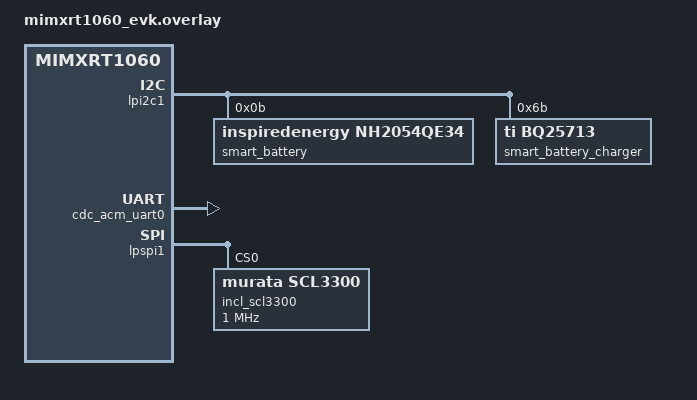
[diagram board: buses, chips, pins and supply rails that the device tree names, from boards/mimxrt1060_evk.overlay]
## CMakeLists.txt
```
# SPDX-License-Identifier: Apache-2.0
#set(overlay_file ${CMAKE_CURRENT_SOURCE_DIR}/../../boards/${BOARD}.overlay)
#if(EXISTS ${overlay_file})
#    list(APPEND DTC_OVERLAY_FILE "${overlay_file}")
#endif()

cmake_minimum_required(VERSION 3.20.0)
find_package(Zephyr REQUIRED HINTS $ENV{ZEPHYR_BASE})
project(io-controller)

set(CMAKE_EXPORT_COMPILE_COMMANDS ON)

add_subdirectory(src)

target_include_directories(app
    PRIVATE ${CMAKE_SOURCE_DIR}/src/utils
            ${CMAKE_SOURCE_DIR}/src/usb
            ${CMAKE_SOURCE_DIR}/src/managers
            ${CMAKE_SOURCE_DIR}/src/display
            ${CMAKE_SOURCE_DIR}/src/sensors
            ${CMAKE_SOURCE_DIR}/src/message_handlers
            ${CMAKE_SOURCE_DIR}/src/third_party
            ${CMAKE_SOURCE_DIR}/src/smp_commands
)

target_sources(app PRIVATE src/main.cpp
                           src/display/display_mock.cpp
                           src/usb/usb_hid_zephyr.cpp
                           src/sensors/battery_mock.cpp
                           src/sensors/battery_charger_mock.cpp
                           src/sensors/imu_mock.cpp
                           src/managers/state_manager_sml.cpp
                           src/managers/battery_manager.cpp
                           src/managers/imu_manager.cpp
                           src/sensors/inclinometer_mock.cpp
                           src/sensors/leg_control_impl.cpp
                           src/managers/message_manager.cpp
                           src/managers/display_manager.cpp
                           src/managers/inclinometer_manager.cpp
                           src/managers/leg_manager.cpp
                           src/message_handlers/system_message_handler_impl.cpp
                           src/message_handlers/battery_message_handler_impl.cpp
                           src/message_handlers/display_message_handler_impl.cpp
                           src/message_handlers/inclinometer_message_handler_impl.cpp
                           src/utils/util.cpp
                           src/smp_commands/system_mgmt.cpp
                           src/smp_commands/display_mgmt.cpp
                           src/managers/message_manager_new.cpp
)

target_sources_ifdef(CONFIG_BATTERY_CHARGER_BQ25713 app PRIVATE src/sensors/battery_charger_bq25713.cpp)
target_sources_ifdef(CONFIG_BATTERY_NH2054QE34 app PRIVATE src/sensors/battery_nh2054qe34.cpp)
target_sources_ifdef(CONFIG_DISPLAY app PRIVATE src/display/display_com35h3.cpp)
target_sources_ifdef(CONFIG_FXOS8700 app PRIVATE src/sensors/imu_fxos8700.cpp)
target_sources_ifdef(CONFIG_INCL_SCL3300 app PRIVATE src/sensors/inclinometer_scl3300.cpp)


target_compile_options(app PRIVATE -Wall -Wextra -Wno-unused-parameter -Wno-unused-function -Wno-ignored-qualifiers) # -Werror -Wpedantic
```

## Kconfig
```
rsource "Kconfig.logging"
source "Kconfig.zephyr"
```

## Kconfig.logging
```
# Config options for logger sample app

# Copyright (c) 2018 Nordic Semiconductor ASA
# SPDX-License-Identifier: Apache-2.0

mainmenu "IO Controller"

menu "Logging configuration"
menu "Managers"

module = INCLINOMETER_MANAGER
module-str = Inclinometer Manager
source "subsys/logging/Kconfig.template.log_config"

module = MESSAGE_MANAGER
module-str = Message Manager
source "subsys/logging/Kconfig.template.log_config"

module = BATTERY_MANAGER
module-str = Battery Manager
source "subsys/logging/Kconfig.template.log_config"

module = DISPLAY_MANAGER
module-str = Display Manager
source "subsys/logging/Kconfig.template.log_config"

module = LEG_MANAGER
module-str = Leg Manager
source "subsys/logging/Kconfig.template.log_config"

module = IMU_MANAGER
module-str = Imu Manager
source "subsys/logging/Kconfig.template.log_config"

module = SML_MANAGER
module-str = Sml manager
source "subsys/logging/Kconfig.template.log_config"

endmenu
menu "Message Handlers"

module = SYSTEM_MGMT
module-str = System Message Handler
source "subsys/logging/Kconfig.template.log_config"

module = DISPLAY_MGMT
module-str = Display Message Handler
source "subsys/logging/Kconfig.template.log_config"

module = SYSTEM_MSG_HDLR
module-str = System Message Handler
source "subsys/logging/Kconfig.template.log_config"

module = BATTERY_MSG_HDLR
module-str = Battery Message Handler
source "subsys/logging/Kconfig.template.log_config"

module = DISPLAY_MSG_HDLR
module-str = Display Message Handler
source "subsys/logging/Kconfig.template.log_config"

module = INCLINOMETER_MSG_HDLR
module-str = Inclinometer Message Handler
source "subsys/logging/Kconfig.template.log_config"

endmenu
menu "Sensors"

module = IMU
module-str = Imu
source "subsys/logging/Kconfig.template.log_config"

module = BATTERY
module-str = Battery
source "subsys/logging/Kconfig.template.log_config"

module = BATTERY_CHARGER
module-str = Battery Charger
source "subsys/logging/Kconfig.template.log_config"

module = INCLINOMETER
module-str = Inclinometer
source "subsys/logging/Kconfig.template.log_config"

endmenu
menu "Others"

module = DISPLAY
module-str = Display
source "subsys/logging/Kconfig.template.log_config"

endmenu
endmenu
```

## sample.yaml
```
sample:
  description: Hello World sample, the simplest Zephyr
    application
  name: hello world
common:
    modules:
      - nanopb
    tags: introduction
    integration_platforms:
      - native_posix
    harness: console
    harness_config:
      type: one_line
      regex:
        - "Hello World! (.*)"
tests:
  sample.basic.helloworld:
    tags: introduction
```

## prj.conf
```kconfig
# General
CONFIG_MAIN_STACK_SIZE=4096
CONFIG_SYSTEM_WORKQUEUE_STACK_SIZE=2304

# C++ stuff
CONFIG_NEWLIB_LIBC=y
CONFIG_CPP=y
CONFIG_STD_CPP14=y
CONFIG_LIB_CPLUSPLUS=y

# Message handler, dispatcher and nanopb
CONFIG_MESSAGE_HANDLER=y

# USB
CONFIG_USB_DEVICE_STACK=y
CONFIG_USB_MCUX_THREAD_STACK_SIZE=2048
CONFIG_USB_DC_HAS_HS_SUPPORT=y

# USB Vendor
CONFIG_USB_DEVICE_PRODUCT="TM5 IO DEVICE"
CONFIG_USB_DEVICE_VID=0x246D
CONFIG_USB_DEVICE_PID=0x1050

# USB HID
CONFIG_USB_DEVICE_HID=y
CONFIG_USB_HID_BOOT_PROTOCOL=y
CONFIG_ENABLE_HID_INT_OUT_EP=y
CONFIG_USB_HID_REPORTS=1
# Current MAX size of PB message
CONFIG_HID_INTERRUPT_EP_MPS=256

# USB required by SMP using CDC
CONFIG_SERIAL=y
CONFIG_UART_LINE_CTRL=y
CONFIG_USB_DEVICE_INITIALIZE_AT_BOOT=n
#CONFIG_CONSOLE=y
# USB backend is serial device
CONFIG_MCUMGR_TRANSPORT_UART=y
CONFIG_BASE64=y
# GPIO
CONFIG_GPIO=y

# I2C
CONFIG_I2C=y

# SPI
CONFIG_SPI=y

# Sensor drivers
CONFIG_SENSOR=y

# PRINTF
CONFIG_NEWLIB_LIBC_FLOAT_PRINTF=y
CONFIG_CBPRINTF_FP_SUPPORT=y

# Enable mcumgr.
CONFIG_NET_BUF=y
CONFIG_ZCBOR=y
CONFIG_CRC=y
CONFIG_MCUMGR=y
CONFIG_STREAM_FLASH=y
CONFIG_FLASH_MAP=y

# Enable flash operations.
CONFIG_FLASH=y

# Enable most core commands.
CONFIG_IMG_MANAGER=y
CONFIG_MCUMGR_GRP_IMG=y
CONFIG_MCUMGR_GRP_OS=y
CONFIG_MCUMGR_GRP_STAT=n
CONFIG_UART_MCUMGR_RX_BUF_COUNT=512
CONFIG_MCUMGR_MGMT_CUSTOM_PAYLOAD=y

# Reset cause drivers
CONFIG_HWINFO_IMXRT=y
```

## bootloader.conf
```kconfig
CONFIG_BOOTLOADER_MCUBOOT=y
CONFIG_MCUBOOT_SIGNATURE_KEY_FILE="zephyrproject/bootloader/mcuboot/root-rsa-2048.pem"
CONFIG_BUILD_OUTPUT_HEX=y
```

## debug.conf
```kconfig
# General
CONFIG_DEBUG=y
CONFIG_DEBUG_INFO=y
CONFIG_DEBUG_OPTIMIZATIONS=y
CONFIG_THREAD_NAME=y

# Stack protection
CONFIG_INIT_STACKS=y
CONFIG_THREAD_STACK_INFO=y
CONFIG_MPU_STACK_GUARD=y
CONFIG_STACK_CANARIES=y
CONFIG_ENTROPY_GENERATOR=y
# CONFIG_STACK_SENTINEL=y # This exists, but is a software solution which we should not need as we can use the MPU stack guard

#Log levels
CONFIG_MPU_LOG_LEVEL_WRN=y

# Asserts
CONFIG_ASSERT=y
CONFIG_ASSERT_VERBOSE=y

# Build diagnostics files
CONFIG_OUTPUT_DISASSEMBLY=y
CONFIG_OUTPUT_STAT=y
CONFIG_OUTPUT_SYMBOLS=y
CONFIG_STACK_USAGE=y
# CONFIG_OUTPUT_DISASSEMBLE_ALL=y

# Fault diagnostics
CONFIG_EXCEPTION_STACK_TRACE=y
CONFIG_EXTRA_EXCEPTION_INFO=y
CONFIG_DEBUG_COREDUMP=y
CONFIG_DEBUG_COREDUMP_MEMORY_DUMP_MIN=y # Only dumps the bare minimum memory content. For example, the thread struct and stack of the exception thread will be dumped.

# Memory usage
CONFIG_OUTPUT_PRINT_MEMORY_USAGE=y

# Thread Analyzer
# CONFIG_THREAD_ANALYZER=y
# CONFIG_THREAD_ANALYZER_USE_PRINTK=y
# CONFIG_THREAD_ANALYZER_AUTO=y
# CONFIG_THREAD_ANALYZER_AUTO_INTERVAL=5
```

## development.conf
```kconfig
#IMU
CONFIG_FXOS8700=n
CONFIG_FXOS8700_MODE_HYBRID=y
CONFIG_FXOS8700_TEMP=y

# Battery
CONFIG_BATTERY_NH2054QE34=n

# Battery Charger
CONFIG_BATTERY_CHARGER_BQ25713=n

# Inclinometer
CONFIG_INCL_SCL3300=n

# Display 
CONFIG_DISPLAY=n
CONFIG_DISPLAY_MCUX_ELCDIF=y
CONFIG_MCUX_ELCDIF_FB_NUM=0
CONFIG_INIT_VIDEO_PLL=n

# Ramdisk as framebuffers
CONFIG_DISK_DRIVERS=n
CONFIG_DISK_DRIVER_RAM=y
CONFIG_DISK_RAM_USER_ALLOCATION=y
CONFIG_DISK_RAM_VOLUME_SIZE=226  #Disk size in bytes = framebuffer size = 240x320x3 = 230400
                                 #Disk size in kilobytes rouded up = 230400/1024 +1
CONFIG_MASS_STORAGE_INQ_PRODUCT_ID="TM5 FRAMERAMDISK"
CONFIG_USB_MASS_STORAGE=n
```

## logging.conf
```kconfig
# Logging level will default to INF if the level config is not set
# To change the logging level of a module, the suffix needs to be changed.
# Ex. CONFIG_<module>_LOG_LEVEL_<suffix>=y
# Suffixes that can be used
#   OFF
#   ERR
#   WRN
#   INF
#   DBG

CONFIG_LOG=y

# Managers
CONFIG_LEG_MANAGER_LOG_LEVEL_INF=y
CONFIG_IMU_MANAGER_LOG_LEVEL_INF=y
CONFIG_SML_MANAGER_LOG_LEVEL_INF=y
CONFIG_MESSAGE_MANAGER_LOG_LEVEL_INF=y
CONFIG_BATTERY_MANAGER_LOG_LEVEL_INF=y
CONFIG_DISPLAY_MANAGER_LOG_LEVEL_INF=y
CONFIG_INCLINOMETER_MANAGER_LOG_LEVEL_INF=y

# Message Handlers
CONFIG_SYSTEM_MSG_HDLR_LOG_LEVEL_INF=y
CONFIG_BATTERY_MSG_HDLR_LOG_LEVEL_INF=y
CONFIG_DISPLAY_MSG_HDLR_LOG_LEVEL_INF=y
CONFIG_INCLINOMETER_MSG_HDLR_LOG_LEVEL_INF=y

# Sensors
CONFIG_IMU_LOG_LEVEL_INF=y
CONFIG_BATTERY_LOG_LEVEL_INF=y
CONFIG_BATTERY_CHARGER_LOG_LEVEL_INF=y
CONFIG_INCLINOMETER_LOG_LEVEL_INF=y

# USB
CONFIG_USB_HID_LOG_LEVEL_INF=y              # (Application and driver)
CONFIG_USB_DRIVER_LOG_LEVEL_ERR=y
CONFIG_USB_DEVICE_LOG_LEVEL_ERR=y
CONFIG_USB_MASS_STORAGE_LOG_LEVEL_ERR=y

# Display
CONFIG_DISPLAY_LOG_LEVEL_INF=y              # (Application and driver)

# Zephyr Sensor Drivers
CONFIG_SENSOR_LOG_LEVEL_DBG=y

# McuBoot
CONFIG_MCUBOOT_UTIL_LOG_LEVEL_WRN=y
```

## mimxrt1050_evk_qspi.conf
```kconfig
#IMU
CONFIG_FXOS8700=n
CONFIG_FXOS8700_MODE_HYBRID=n
CONFIG_FXOS8700_TEMP=n

# Battery
CONFIG_BATTERY_NH2054QE34=n

# Battery Charger
CONFIG_BATTERY_CHARGER_BQ25713=n
```

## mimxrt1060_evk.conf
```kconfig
#IMU
CONFIG_FXOS8700=n
CONFIG_FXOS8700_MODE_HYBRID=y
CONFIG_FXOS8700_TEMP=y

# Battery
CONFIG_BATTERY_NH2054QE34=n #Disable until CJO fixes it

# Battery Charger
CONFIG_BATTERY_CHARGER_BQ25713=n

# Inclinometer
CONFIG_INCL_SCL3300=y

# Display 
CONFIG_DISPLAY=y
CONFIG_DISPLAY_MCUX_ELCDIF=y
CONFIG_MCUX_ELCDIF_FB_NUM=0
CONFIG_INIT_VIDEO_PLL=y

# Ramdisk as framebuffers
CONFIG_DISK_DRIVERS=y
CONFIG_DISK_DRIVER_RAM=y
CONFIG_DISK_RAM_USER_ALLOCATION=y
# Disk size in bytes = framebuffer size = 240x320x3 = 230400
# Disk size in kilobytes rouded up = 230400/1024 +1
CONFIG_DISK_RAM_VOLUME_SIZE=226  
CONFIG_MASS_STORAGE_INQ_PRODUCT_ID="TM5 FRAMERAMDISK"
CONFIG_USB_MASS_STORAGE=y
```

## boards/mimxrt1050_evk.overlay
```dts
/ {
	chosen {
		zephyr,uart-mcumgr = &cdc_acm_uart0;
	};
};

&usb1 {
    maximum-speed = "high-speed";
};

&usb2 {
    maximum-speed = "high-speed";
};

&lcdif {
	width = <320>;
	height = <240>;
	hsync = <48>;
	hfp = <40>;
	hbp = <88>;
	vsync = <3>;
	vfp = <13>;
	vbp = <32>;
};

&zephyr_udc0 {
	cdc_acm_uart0: cdc_acm_uart0 {
		compatible = "zephyr,cdc-acm-uart";
	};
};
```

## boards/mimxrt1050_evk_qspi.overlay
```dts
/ {
	chosen {
		zephyr,uart-mcumgr = &cdc_acm_uart0;
	};
};

&usb1 {
    maximum-speed = "high-speed";
};

&usb2 {
    maximum-speed = "high-speed";
};

&lpi2c1 {
	smart_battery: nh2054qe34@b{
		status = "okay";
		compatible = "inspiredenergy,nh2054qe34";
		reg = <0xb>;
	};

	smart_battery_charger: bq25713@6b{
		status = "okay";
		compatible = "ti,bq25713";
		reg = <0x6b>;	// See Device Comparison Table in datasheet
	};
};

&lcdif {
	width = <320>;
	height = <240>;
	hsync = <48>;
	hfp = <40>;
	hbp = <88>;
	vsync = <3>;
	vfp = <13>;
	vbp = <32>;
};

&lpi2c1 {
	smart_battery: nh2054qe34@b{
		status = "okay";
		compatible = "inspiredenergy,nh2054qe34";
		reg = <0xb>;
	};

	smart_battery_charger: bq25713@6b{
		status = "okay";
		compatible = "ti,bq25713";
		reg = <0x6b>;	// See Device Comparison Table in datasheet
	};
};

&zephyr_udc0 {
	cdc_acm_uart0: cdc_acm_uart0 {
		compatible = "zephyr,cdc-acm-uart";
	};
};
```

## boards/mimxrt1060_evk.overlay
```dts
/ {
	chosen {
		zephyr,uart-mcumgr = &cdc_acm_uart0;
	};
};

&usb1 {
    maximum-speed = "high-speed";
};

&usb2 {
    maximum-speed = "high-speed";
};

&lpi2c1 {	
	smart_battery: nh2054qe34@b{
		status = "okay";
		compatible = "inspiredenergy,nh2054qe34";
		reg = <0xb>;
	};

	smart_battery_charger: bq25713@6b{
		status = "okay";
		compatible = "ti,bq25713";
		reg = <0x6b>;	// See Device Comparison Table in datasheet
	};
};

&zephyr_udc0 {
	cdc_acm_uart0: cdc_acm_uart0 {
		compatible = "zephyr,cdc-acm-uart";
	};
};

// Remove the SD card bindings, as they use the same pins as SPI1.
/{
    aliases{    // Remove the alias, as it will refer to a node that does not exists.
		/delete-property/ sdhc0;
    };

};
// Remove the SD card pin bindings.
/delete-node/ &usdhc1;

// Add SPI and inclinometer.
&lpspi1 {
    pcs-sck-delay = <700>;      // Delay in nanoseconds from the chip select assert to the first clock edge. If not set, the minimum supported delay is used.
    sck-pcs-delay = <7000>;      // Delay in nanoseconds from the last clock edge to the chip select deassert. If not set, the minimum supported delay is used.
    transfer-delay = <12000>;   // Delay in nanoseconds from the chip select deassert to the next chip select assert. If not set, the minimum supported delay is used.
	incl_scl3300: SCL3300@0 {
		status = "okay";
		compatible = "murata,scl3300";
        spi-max-frequency = <1000000>;  // if this is changed remember to change pcs-sck-delay and sck-pcs-delay. They have to be min clk-period/2.
		reg = <0x0>;
	};
};

// Use interal (OC) ram,  instead of external ram.
// This setting here replaces the default device tree "zephyr,sram" field in zephyrproject/zephyr/boards/arm/mimxrt1060_evk/mimxrt1060_evk.dts.
// The 'ocram' tag/label is defined in zephyrproject/zephyr/dts/arm/nxp/nxp_rt1060.dtsi.
/{
	chosen {
		zephyr,sram = &ocram;
	};
};
&lcdif {
	width = <320>;
	height = <240>;
	display-timings {
		compatible = "zephyr,panel-timing";
		hsync-len = <48>;
		hfront-porch = <40>;
		hback-porch = <88>;
		vsync-len = <3>;
		vfront-porch = <13>;
		vback-porch = <32>;
	};
	pixel-format = <PANEL_PIXEL_FORMAT_RGB_888>;
};
```

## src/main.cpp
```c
#include <zephyr/logging/log.h>

#include "battery_charger_bq25713.h"
#include "battery_charger_mock.h"
#include "battery_manager.h"
#include "battery_message_handler_impl.h"
#include "battery_mock.h"
#include "battery_nh2054qe34.h"
#include "display.h"
#include "display_com35h3.h"
#include "display_manager.h"
#include "display_message_handler_impl.h"
#include "display_mgmt.h"
#include "display_mock.h"
#include "imu_fxos8700.h"
#include "imu_manager.h"
#include "imu_mock.h"
#include "inclinometer_manager.h"
#include "inclinometer_message_handler_impl.h"
#include "inclinometer_mock.h"
#include "inclinometer_scl3300.h"
#include "leg_control_impl.h"
#include "leg_manager.h"
#include "message_dispatcher.h"
#include "message_manager.h"
#include "message_manager_new.h"
#include "state_manager_sml.h"
#include "system_message_handler_impl.h"
#include "system_mgmt.h"
#include "usb_hid_mock.h"
#include "usb_hid_zephyr.h"
#include "util.h"

LOG_MODULE_REGISTER(main);

using namespace trackman;

int main(void)
{
    LOG_INF("\n********************************");
    LOG_INF("**  TM5 IO Controller v.%s", "0.13  **");
    LOG_INF("********************************");

    // Initialize External Devices
#if defined(CONFIG_BATTERY_NH2054QE34)
    BatteryNh2054qe34 battery;
#else
    BatteryMock battery;
#endif  // _CONFIG_BATTERY_NH2054QE34_

#if defined(CONFIG_BATTERY_CHARGER_BQ25713)
    BatteryChargerBq25713 charger;
#else
    BatteryChargerMock charger;
#endif

#if defined(CONFIG_DISPLAY)
    DisplayCom35h3 disp;
#else
    DisplayMock disp;
#endif  // !CONFIG_DISPLAY

#if defined(CONFIG_FXOS8700)
    ImuFxos8700 imu;
#else
    ImuMock imu;
#endif  // !CONFIG_FXOS8700

#if defined(CONFIG_INCL_SCL3300)
    InclinometerScl3300 incl;
#else
    InclinometerMock incl;
#endif  // CONFIG_INCL_SCL3300

    LegControlImpl leg_control;

#if defined(CONFIG_USB_DEVICE_HID)
    UsbHidZephyr usb_hid;
#else
    UsbHidMock usb_hid;
#endif

    // Initialize Message Handlers and Disptacher
    MessageProto msg_proto;
    MessageDispatcher dispatcher;

    // Initialize Managers
    StateManagerSml state_manager;
    MessageManager msg_manager(usb_hid, msg_proto, dispatcher);
    BatteryManager battery_manager(battery, charger);
    ImuManager imu_manager(imu);
    DisplayManager disp_manager(disp);

    InclinometerManager inclino_manager(incl);
    LegManager leg_manager(leg_control, inclino_manager);

    MessageManagerNew msg_manager_new;

    // Initialize Message Handlers
    SystemMessageHandlerImpl system_msg_handler;
    BatteryMessageHandlerImpl battery_msg_handler(battery_manager, msg_manager);
    DisplayMessageHandlerImpl display_msg_handler(disp_manager);
    InclinometerMessageHandlerImpl inclinometer_msg_handler(inclino_manager);

    dispatcher.AddHandler(system_msg_handler);
    dispatcher.AddHandler(battery_msg_handler);
    dispatcher.AddHandler(display_msg_handler);
    dispatcher.AddHandler(inclinometer_msg_handler);

    SystemMgmt sys_mgmt;
    DisplayMgmt disp_mgmt(disp_manager);

    msg_manager_new.AddHandler(sys_mgmt);
    msg_manager_new.AddHandler(disp_mgmt);

    state_manager.AddManager(disp_manager);
    state_manager.AddManager(msg_manager);
    state_manager.AddManager(imu_manager);
    state_manager.AddManager(battery_manager);
    state_manager.AddManager(inclino_manager);
    state_manager.AddManager(leg_manager);
    state_manager.AddManager(msg_manager_new);

    if (usb_enable(NULL) != 0) {
        LOG_ERR("Failed to enable USB");
    }

    state_manager.Run();

    while (1) {
        k_sleep(K_MSEC(1000));
    }
    return 0;
}
```

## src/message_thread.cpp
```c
#include "message_thread.h"

#include <usb/usb_device.h>

#include "display_com35.h"
#include "display_manager.h"
#include "display_message_handler_impl.h"
#include "imu_fxos8700.h"
#include "imu_manager.h"
#include "imu_mock.h"
#include "inclinometer_impl.h"
#include "inclinometer_message_handler_impl.h"
#include "logger_zephyr.h"
#include "message_dispatcher.h"
#include "message_manager.h"
#include "message_thread.h"
#include "system_message_handler_impl.h"
#include "usb_hid_zephyr.h"
#include "util.h"

/* Message Queues */
K_MSGQ_DEFINE(usb_hid_msgq, sizeof(MessageBuffer), 10, 1);

/* Work Items */
static k_work *usb_hid_work;

static int HandleReceiveCallback(const struct device *dev, struct usb_setup_packet *setup,
                                 int32_t *len, uint8_t **data)
{
    MessageBuffer buffer;
    memcpy(buffer.data, *data, (size_t)*len);
    buffer.length = *len;

    // For testing, to be deleted later
    if (0) {
        printk("Received bytes: \n");
        size_t i;
        for (i = 0; i < buffer.length; i++) {
            if (i > 0) printk(":");
            printk("%02X", buffer.data[i]);
        }
        printk("\n");
    }
    //

    while (k_msgq_put(&usb_hid_msgq, &buffer, K_NO_WAIT) != 0) {
        // message queue is full: purge old data & try again
        k_msgq_purge(&usb_hid_msgq);
    }

    return k_work_submit(usb_hid_work);
}

// This function is being used as an example for adding a subscriber to IMU sample data
void on_imu_data(ImuSampleData sample_data)
{
    printk("AX=%10.6f AY=%10.6f AZ=%10.6f\n", sample_data.acc.x, sample_data.acc.y,
           sample_data.acc.z);
}

void MessageThreadRun(void)
{
    /* Initialize Logger */
    LoggerZephyr logger("");

    /* Initialize External Devices */
    UsbHidZephyr usb_hid(logger);
    usb_hid.SetReceiveCallback(HandleReceiveCallback);
    DisplayCOM35 disp(logger);
#if defined(CONFIG_FXOS8700)
    ImuFxos8700 imu(logger);
#else
    ImuMock imu(logger);
#endif /* !CONFIG_FXOS8700 */
    InclinometerImpl incl;

    /* Initialize Message Disptacher */
    MessageProto msg_proto;
    MessageDispatcher dispatcher;

    /* Initialize Managers */
    ImuManager imu_manager(std::make_shared<LoggerZephyr>(logger),
#if defined(CONFIG_FXOS8700)
                           std::make_unique<ImuFxos8700>(std::move(imu))
#else
                           std::make_unique<ImuMock>(std::move(imu))
#endif /* !CONFIG_FXOS8700 */
    );
    DisplayManager disp_manager(&logger, &disp);
    MessageManager msg_manager(&logger, &usb_hid, &msg_proto, &dispatcher, &usb_hid_msgq);
    usb_hid_work = msg_manager.GetWorkItem();

    /* Initialize Message Handlers*/
    SystemMessageHandlerImpl sys_impl(logger);
    DisplayMessageHandlerImpl disp_impl(logger, disp_manager);
    InclinometerMessageHandlerImpl incl_impl(logger, incl);

    dispatcher.AddHandler(sys_impl);
    dispatcher.AddHandler(disp_impl);
    dispatcher.AddHandler(incl_impl);

    /* Playground */

    if (usb_enable(NULL) != 0) {
        logger.err("Failed to enable USB");
    }

    imu_manager.AddSubscriber(on_imu_data);
    imu_manager.StartSampling();
    disp_manager.SetBootLogo();
    disp_manager.StartSpinner();

    while (1) {
        k_sleep(K_MSEC(1000));
    }
}
```

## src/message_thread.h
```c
#pragma once

void MessageThreadRun(void);
```

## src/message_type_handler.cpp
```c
#include "message_handler.h"

extern "C" void display_stop_spinner(void);
extern "C" void display_signal_new_frame(void);

LOG_MODULE_REGISTER(message_type_handler, LOG_LEVEL_INF);

void RequestVersionMessageHandler::HandleRequestVersion(const RequestVersion &rv, MessageBuffer &buffer) {
    // TODO: Get Version
    int version = 2;

    if (!MessageEncoder::EncodeResponseVersion(buffer, version)){
        LOG_WRN("Failed to Encode ResponseVersion\n");
    }
}

void ResponseVersionMessageHandler::HandleResponseVersion(const ResponseVersion &rv, MessageBuffer &buffer) {
    return;
}


void RequestStopSpinnerMessageHandler::HandleRequestStopSpinner(const RequestStopSpinner &rv, MessageBuffer &buffer) {
    bool status = true;
	display_stop_spinner();

    if (!MessageEncoder::EncodeResponseStopSpinner(buffer, status)){
        LOG_WRN("Failed to Encode ResponseStopSpinner\n");
    }
}

void ResponseStopSpinnerMessageHandler::HandleResponseStopSpinner(const ResponseStopSpinner &rv, MessageBuffer &buffer) {
    return;
}


void RequestNewFrameMessageHandler::HandleRequestNewFrame(const RequestNewFrame &rv, MessageBuffer &buffer) {
    bool status = true;
	display_signal_new_frame();

    if (!MessageEncoder::EncodeResponseNewFrame(buffer, status)){
        LOG_WRN("Failed to Encode ResponseNewFrame\n");
    }
}

void ResponseNewFrameMessageHandler::HandleResponseNewFrame(const ResponseNewFrame &rv, MessageBuffer &buffer) {
    return;
}
```
